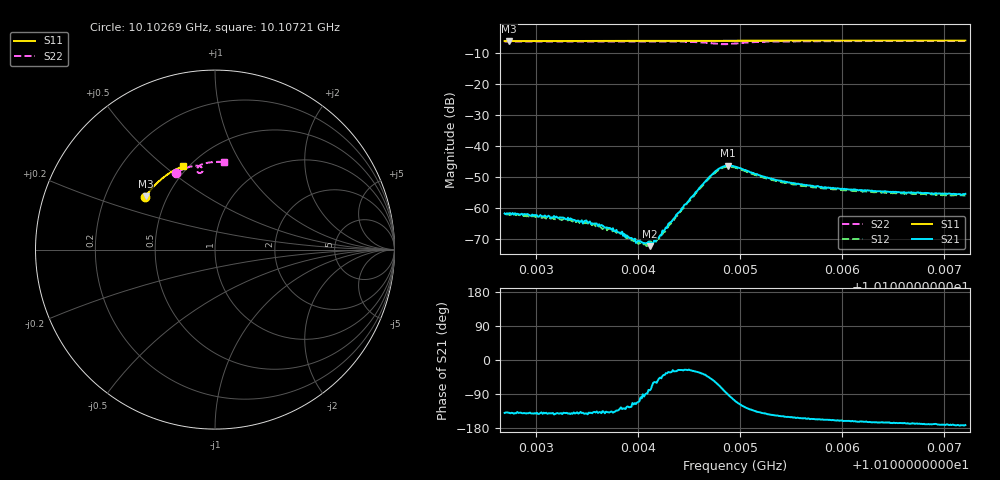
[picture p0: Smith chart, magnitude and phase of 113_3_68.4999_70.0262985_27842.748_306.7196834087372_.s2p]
#  HZ  S  RI  R  50.00
! Rohde & Schwarz Vector Network Analyzer
! Rohde-Schwarz,ZNB20-2Port,1311601062101988,3.16
! Created: UTC 3/20/2024, 4:53:39 PM
! freq[Hz]  re:S11  im:S11  re:S21  im:S21  re:S12  im:S12  re:S22  im:S22
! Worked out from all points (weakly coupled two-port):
!   401 points, 10.10269 GHz to 10.10721 GHz, reference 50 ohm
!   highest |S21| = -46.39 dB at 10.10488 GHz (marker M1); lowest = -72.3 dB at 10.10411 GHz (marker M2)
!   lowest |S11| = -6.2 dB at 10.10274 GHz (marker M3), VSWR 2.90, Z = 18.9 + j14.7 ohm
!   |S11| at or under -10 dB: nowhere
!   |S22| runs from -7.2 to -6.2 dB; largest |S21 - S12| = 0.00047
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1.010269e10  -0.3887 0.2943  -0.000615 -0.000522  -0.000562 -0.00056  -0.2162 0.4284
1.0102736e10  -0.387 0.2964  -0.000619 -0.000532  -0.000538 -0.000549  -0.2137 0.4299
1.0103255e10  -0.3681 0.3219  -0.000549 -0.00042  -0.000476 -0.000424  -0.1826 0.4452
1.0103447e10  -0.3607 0.3309  -0.000479 -0.000401  -0.000421 -0.000405  -0.1706 0.4503
1.0103503e10  -0.3587 0.3336  -0.000458 -0.00034  -0.000395 -0.00039  -0.1671 0.452
1.0103695e10  -0.3509 0.3424  -0.000352 -0.000324  -0.000294 -0.000317  -0.1544 0.4567
1.0103853e10  -0.3445 0.3496  -0.000216 -0.000276  -0.000201 -0.00033  -0.1436 0.4603
1.010391e10  -0.3422 0.352  -0.000186 -0.000267  -0.000155 -0.000295  -0.1397 0.4613
1.0104011e10  -0.3379 0.3565  -9.52e-05 -0.000273  -3.87e-05 -0.000274  -0.1322 0.4634
1.0104079e10  -0.3351 0.3594  7.62e-06 -0.000269  2.35e-05 -0.000241  -0.1272 0.4646
1.0104113e10  -0.3336 0.3609  4.18e-05 -0.000238  8.68e-05 -0.000273  -0.1246 0.4651
1.0104158e10  -0.3316 0.3628  0.000159 -0.000254  0.000146 -0.000229  -0.1208 0.4659
1.0104203e10  -0.3297 0.3648  0.000219 -0.000253  0.000237 -0.000214  -0.1172 0.4664
1.0104441e10  -0.3192 0.3748  0.000907 -0.000472  0.000909 -0.000337  -0.0952 0.4671
1.0104689e10  -0.3079 0.3849  0.00215 -0.00213  0.00224 -0.00182  -0.0696 0.4493
1.0104791e10  -0.3033 0.3886  0.00167 -0.00391  0.00193 -0.00359  -0.0726 0.4318
1.0104881e10  -0.2992 0.3922  -0.000129 -0.00479  0.000261 -0.00459  -0.0891 0.427
1.0104949e10  -0.2962 0.3947  -0.0014 -0.00437  -0.001 -0.00432  -0.0985 0.4349
1.0105333e10  -0.2779 0.4091  -0.00235 -0.00162  -0.00213 -0.00174  -0.079 0.4723
1.0105705e10  -0.2594 0.4222  -0.00206 -0.000929  -0.00185 -0.00106  -0.0505 0.482
1.0106462e10  -0.2202 0.4458  -0.00173 -0.000471  -0.00162 -0.000563  0.00198 0.4885
1.0107207e10  -0.1797 0.4655  -0.00165 -0.00024  -0.00153 -0.000346  0.0511 0.4881
